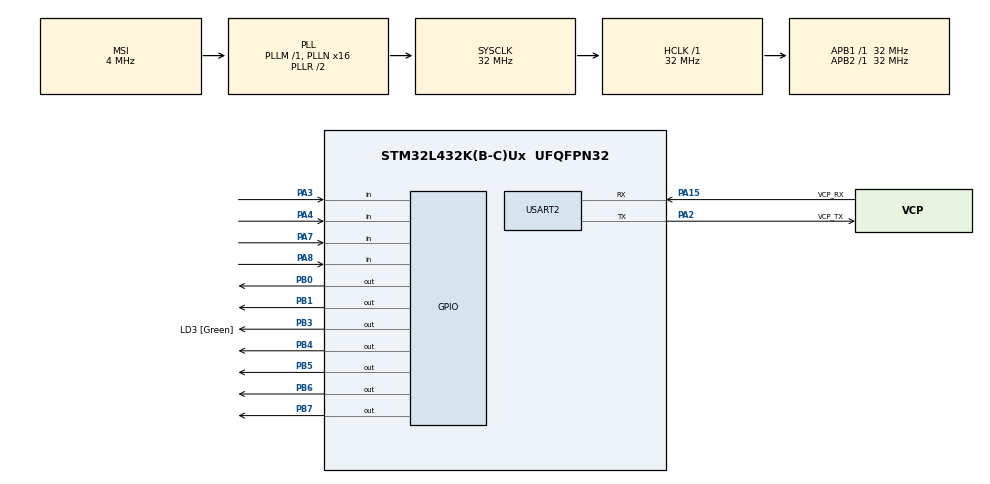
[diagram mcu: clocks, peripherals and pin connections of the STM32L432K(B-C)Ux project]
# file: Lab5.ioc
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Mcu.Family=STM32L4
Mcu.Name=STM32L432K(B-C)Ux
Mcu.Package=UFQFPN32
NVIC.PriorityGroup=NVIC_PRIORITYGROUP_4
PA0.GPIO_Label=MCO [High speed clock in]
PA0.Mode=HSE-External-Clock-Source-for-LittleOrca
PA0.Signal=RCC_CK_IN
PA13\ (JTMS-SWDIO).GPIO_Label=SWDIO
PA13\ (JTMS-SWDIO).Mode=Serial_Wire
PA13\ (JTMS-SWDIO).Signal=SYS_JTMS-SWDIO
PA14\ (JTCK-SWCLK).GPIO_Label=SWCLK
PA14\ (JTCK-SWCLK).Mode=Serial_Wire
PA14\ (JTCK-SWCLK).Signal=SYS_JTCK-SWCLK
PA15\ (JTDI).GPIO_Label=VCP_RX
PA15\ (JTDI).Mode=Asynchronous
PA15\ (JTDI).Signal=USART2_RX
PA2.GPIO_Label=VCP_TX
PA2.Mode=Asynchronous
PA2.Signal=USART2_TX
PA3.GPIO_PuPd=GPIO_PULLUP
PA3.Signal=GPIO_Input
PA4.GPIO_PuPd=GPIO_PULLUP
PA4.Signal=GPIO_Input
PA7.GPIO_PuPd=GPIO_PULLUP
PA7.Signal=GPIO_Input
PA8.GPIO_PuPd=GPIO_PULLUP
PA8.Signal=GPIO_Input
PB0.Signal=GPIO_Output
PB1.Signal=GPIO_Output
PB3\ (JTDO-TRACESWO).GPIO_Label=LD3 [Green]
PB3\ (JTDO-TRACESWO).Signal=GPIO_Output
PB4\ (NJTRST).Signal=GPIO_Output
PB5.Signal=GPIO_Output
PB6.Signal=GPIO_Output
PB7.Signal=GPIO_Output
PC14-OSC32_IN\ (PC14).Mode=LSE-External-Oscillator
PC14-OSC32_IN\ (PC14).Signal=RCC_OSC32_IN
PC15-OSC32_OUT\ (PC15).Mode=LSE-External-Oscillator
PC15-OSC32_OUT\ (PC15).Signal=RCC_OSC32_OUT
ProjectManager.HeapSize=0x200
ProjectManager.StackSize=0x400
ProjectManager.TargetToolchain=STM32CubeIDE
RCC.AHBFreq_Value=32000000
RCC.APB1Freq_Value=32000000
RCC.APB1TimFreq_Value=32000000
RCC.APB2Freq_Value=32000000
RCC.APB2TimFreq_Value=32000000
RCC.CortexFreq_Value=32000000
RCC.HCLKFreq_Value=32000000
RCC.HSE_VALUE=8000000
RCC.HSI16_VALUE=16000000
RCC.HSI48_VALUE=48000000
RCC.HSI_VALUE=16000000
RCC.MSI_VALUE=4000000
RCC.PLLMUL=RCC_PLLMUL_4
RCC.PLLN=16
RCC.SYSCLKFreq_VALUE=32000000
RCC.SYSCLKSource=RCC_SYSCLKSOURCE_PLLCLK
RCC.VCOOutputFreq_Value=64000000
USART2.VirtualMode-Asynchronous=VM_ASYNC
board=NUCLEO-L432KC

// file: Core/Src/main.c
/* USER CODE BEGIN Header */
/**
******************************************************************************
  *  PROJECT       : Lab Assignment 5
  *  PROGRAMMER    : Karthik kaushik, Shivam Vyas
  * FIRST VERSION  : 2021-04-02
  *  DESCRIPTION   : Function of this program is to simulate an GPS system

  ******************************************************************************
  */
/* USER CODE END Header */
#include "main.h"

/* USER CODE BEGIN Includes */
#include "stdio.h"
#include <stdlib.h>
#include <string.h>
#include "debounce.h"
#include "stdbool.h"
/* USER CODE END Includes */

UART_HandleTypeDef huart2;

void SystemClock_Config(void);
static void MX_GPIO_Init(void);
static void MX_USART2_UART_Init(void);

int main(void)
{
  /* USER CODE BEGIN 1 */
	int state = 1;
	char outputStr [16]="";
	char * stringData = (char*)calloc(100, sizeof(char));
	char* delimiter = (char*)calloc(10, sizeof(char));
	char* UTCTime = (char*)calloc(10, sizeof(char));
	char* latitude = (char*)calloc(10, sizeof(char));
	char* longitude = (char*)calloc(10, sizeof(char));
	char* altitude =(char*)calloc(10, sizeof(char));

  /* USER CODE END 1 */

  /* MCU Configuration--------------------------------------------------------*/

  /* Reset of all peripherals, Initializes the Flash interface and the Systick. */
  HAL_Init();

  /* USER CODE BEGIN Init */
  int8_t mode = 1;
  deBounceInit(GPIO_PIN_3, 'A', mode);
  deBounceInit(GPIO_PIN_4, 'A', mode);
  deBounceInit(GPIO_PIN_7, 'A', mode);
  deBounceInit(GPIO_PIN_8, 'A', mode);
  /* USER CODE END Init */

  /* Configure the system clock */
  SystemClock_Config();

  /* Initialize all configured peripherals */
  MX_GPIO_Init();
  MX_USART2_UART_Init();
  /* USER CODE BEGIN 2 */
  HD44780_Init();

  /* USER CODE END 2 */

  /* Infinite loop */
  /* USER CODE BEGIN WHILE */
  while (1)
  {
	  switch(state){
	  	  case 1:
			printf("%s\r\n", "Retrieving data");
			printf("%s\r\n", "Input Data:");
	  		HD44780_ClrScr();
			HD44780_PutStr("Retrieving data");
			scanf("%s",stringData);
			state = 2;
			break;

	  	  case 2:
	  		HAL_Delay(250);
			printf("%s\r\n", "Processing data");
			HD44780_ClrScr();
			HD44780_PutStr("Processing data");

			delimiter = strtok(stringData, ",");
			UTCTime = strtok(NULL, ",");
			latitude = strtok(NULL, ",");
			delimiter = strtok(NULL, ",");
			longitude = strtok(NULL, ",");
			for (int var = 0; var < 4; ++var)
				delimiter = strtok(NULL, ",");
			altitude = strtok(NULL, ",");

			HAL_Delay(5000);
			state = 3;
			break;

	  	  case 3:
			HD44780_ClrScr();
			HD44780_PutStr("1)Time, 2)Latitu");
			HD44780_GotoXY(0, 1);
			HD44780_PutStr("3)Longi 4)Altitu");
			printf("%s\r\n", "1:Time 2:Latitude 3.:Longitude 4.:Altitude");
	  		while (deBounceReadPin(GPIO_PIN_3, 'A', mode)
					&&deBounceReadPin(GPIO_PIN_4, 'A', mode)
					&&deBounceReadPin(GPIO_PIN_7, 'A', mode)
					&&deBounceReadPin(GPIO_PIN_8, 'A', mode))
				HAL_Delay(20);
			if(deBounceReadPin(GPIO_PIN_3, 'A', mode) == 0)
				state = 4;
			else if (deBounceReadPin(GPIO_PIN_4, 'A', mode) == 0)
				state = 5;
			else if (deBounceReadPin(GPIO_PIN_7, 'A', mode) == 0)
				state = 6;
			else if (deBounceReadPin(GPIO_PIN_8, 'A', mode) == 0)
				state = 7;
			break;

	  	  case 4:
	  		  ;
			  float timeVar = atof(UTCTime);
			  float seconds = fmod(timeVar,100);
			  int minutes = ((int)timeVar / 100) % 100;
			  int hours = ((int)timeVar / 100) / 100;

			  HD44780_ClrScr();
			  HD44780_PutStr("Time:");
			  HD44780_GotoXY(0, 1);
	  		  printf("%s\r\n", "Time:");
			  printf("%ih %im %.2fs\r\n", hours, minutes, seconds);
			  sprintf(outputStr,"%ih %im %.2fs", hours, minutes, seconds);
			  HD44780_PutStr(outputStr);

			  HAL_Delay(5000);
			  state = 3;
			  break;

	  	  case 5:
	  		  ;
			  float latitudeTemp = atof(latitude);
			  int degree = (int)latitudeTemp/100;
			  int min = (int)latitudeTemp%100;
			  int dd = ((int)(latitudeTemp*10000))%10000;

	  		  printf("%s\r\n", "Latitude:");
			  printf("%id %im %idd\r\n", degree, min, dd);
			  sprintf(outputStr,"%id %im %idd", degree, min, dd);
			  HD44780_ClrScr();
			  HD44780_PutStr("Latitude:");
			  HD44780_GotoXY(0, 1);
			  HD44780_PutStr(outputStr);

			  HAL_Delay(5000);
			  state = 3;
			  break;

	  	  case 6:
	  		  ;
			  float longitudeTemp = atof(longitude);
			  int degreeTemp = (int)longitudeTemp/100;
			  int minTemp = (int)longitudeTemp%100;
			  int ddTemp = ((int)(longitudeTemp*10000))%10000;

	  		  printf("%s\r\n", "longitude:");
			  printf("%id %im %idd\r\n", degreeTemp, minTemp, ddTemp);
			  sprintf(outputStr,"%id %im %idd", degreeTemp, minTemp, ddTemp);
			  HD44780_ClrScr();
			  HD44780_PutStr("longitude:");
			  HD44780_GotoXY(0, 1);
			  HD44780_PutStr(outputStr);

			  HAL_Delay(5000);
			  state = 3;
			  break;

	  	  case 7:
	  		  ;
	  		  float alti = atof(altitude);

	  		  printf("%s\r\n", "altitude:");
	  		  printf("%.3f meter\r\n", alti);
	  		  sprintf(outputStr,"%.3f meter", alti);
	  		  HD44780_ClrScr();
	  		  HD44780_PutStr("altitude:");
	  		  HD44780_GotoXY(0, 1);
	  		  HD44780_PutStr(outputStr);

	  		  HAL_Delay(5000);
	  		  state = 3;
			  break;

	  }
    /* USER CODE END WHILE */

  }
}

void SystemClock_Config(void)
{
  RCC_OscInitTypeDef RCC_OscInitStruct = {0};
  RCC_ClkInitTypeDef RCC_ClkInitStruct = {0};
  RCC_PeriphCLKInitTypeDef PeriphClkInit = {0};

  /** Configure LSE Drive Capability
  */
  HAL_PWR_EnableBkUpAccess();
  __HAL_RCC_LSEDRIVE_CONFIG(RCC_LSEDRIVE_LOW);
  /** Initializes the RCC Oscillators according to the specified parameters
  * in the RCC_OscInitTypeDef structure.
  */
  RCC_OscInitStruct.OscillatorType = RCC_OSCILLATORTYPE_LSE|RCC_OSCILLATORTYPE_MSI;
  RCC_OscInitStruct.LSEState = RCC_LSE_ON;
  RCC_OscInitStruct.MSIState = RCC_MSI_ON;
  RCC_OscInitStruct.MSICalibrationValue = 0;
  RCC_OscInitStruct.MSIClockRange = RCC_MSIRANGE_6;
  RCC_OscInitStruct.PLL.PLLState = RCC_PLL_ON;
  RCC_OscInitStruct.PLL.PLLSource = RCC_PLLSOURCE_MSI;
  RCC_OscInitStruct.PLL.PLLM = 1;
  RCC_OscInitStruct.PLL.PLLN = 16;
  RCC_OscInitStruct.PLL.PLLP = RCC_PLLP_DIV7;
  RCC_OscInitStruct.PLL.PLLQ = RCC_PLLQ_DIV2;
  RCC_OscInitStruct.PLL.PLLR = RCC_PLLR_DIV2;
  if (HAL_RCC_OscConfig(&RCC_OscInitStruct) != HAL_OK)
  {
    Error_Handler();
  }
  /** Initializes the CPU, AHB and APB buses clocks
  */
  RCC_ClkInitStruct.ClockType = RCC_CLOCKTYPE_HCLK|RCC_CLOCKTYPE_SYSCLK
                              |RCC_CLOCKTYPE_PCLK1|RCC_CLOCKTYPE_PCLK2;
  RCC_ClkInitStruct.SYSCLKSource = RCC_SYSCLKSOURCE_PLLCLK;
  RCC_ClkInitStruct.AHBCLKDivider = RCC_SYSCLK_DIV1;
  RCC_ClkInitStruct.APB1CLKDivider = RCC_HCLK_DIV1;
  RCC_ClkInitStruct.APB2CLKDivider = RCC_HCLK_DIV1;

  if (HAL_RCC_ClockConfig(&RCC_ClkInitStruct, FLASH_LATENCY_1) != HAL_OK)
  {
    Error_Handler();
  }
  PeriphClkInit.PeriphClockSelection = RCC_PERIPHCLK_USART2;
  PeriphClkInit.Usart2ClockSelection = RCC_USART2CLKSOURCE_PCLK1;
  if (HAL_RCCEx_PeriphCLKConfig(&PeriphClkInit) != HAL_OK)
  {
    Error_Handler();
  }
  /** Configure the main internal regulator output voltage
  */
  if (HAL_PWREx_ControlVoltageScaling(PWR_REGULATOR_VOLTAGE_SCALE1) != HAL_OK)
  {
    Error_Handler();
  }
  /** Enable MSI Auto calibration
  */
  HAL_RCCEx_EnableMSIPLLMode();
}

static void MX_USART2_UART_Init(void)
{

  huart2.Instance = USART2;
  huart2.Init.BaudRate = 115200;
  huart2.Init.WordLength = UART_WORDLENGTH_8B;
  huart2.Init.StopBits = UART_STOPBITS_1;
  huart2.Init.Parity = UART_PARITY_NONE;
  huart2.Init.Mode = UART_MODE_TX_RX;
  huart2.Init.HwFlowCtl = UART_HWCONTROL_NONE;
  huart2.Init.OverSampling = UART_OVERSAMPLING_16;
  huart2.Init.OneBitSampling = UART_ONE_BIT_SAMPLE_DISABLE;
  huart2.AdvancedInit.AdvFeatureInit = UART_ADVFEATURE_NO_INIT;
  if (HAL_UART_Init(&huart2) != HAL_OK)
  {
    Error_Handler();
  }

}

static void MX_GPIO_Init(void)
{
  GPIO_InitTypeDef GPIO_InitStruct = {0};

  /* GPIO Ports Clock Enable */
  __HAL_RCC_GPIOC_CLK_ENABLE();
  __HAL_RCC_GPIOA_CLK_ENABLE();
  __HAL_RCC_GPIOB_CLK_ENABLE();

  /*Configure GPIO pin Output Level */
  HAL_GPIO_WritePin(LD3_GPIO_Port, LD3_Pin, GPIO_PIN_RESET);

  /*Configure GPIO pins : PA3 PA4 PA7 PA8 */
  GPIO_InitStruct.Pin = GPIO_PIN_3|GPIO_PIN_4|GPIO_PIN_7|GPIO_PIN_8;
  GPIO_InitStruct.Mode = GPIO_MODE_INPUT;
  GPIO_InitStruct.Pull = GPIO_NOPULL;
  HAL_GPIO_Init(GPIOA, &GPIO_InitStruct);

  /*Configure GPIO pin : LD3_Pin */
  GPIO_InitStruct.Pin = LD3_Pin;
  GPIO_InitStruct.Mode = GPIO_MODE_OUTPUT_PP;
  GPIO_InitStruct.Pull = GPIO_NOPULL;
  GPIO_InitStruct.Speed = GPIO_SPEED_FREQ_LOW;
  HAL_GPIO_Init(LD3_GPIO_Port, &GPIO_InitStruct);

}

void Error_Handler(void)
{
  __disable_irq();
  while (1)
  {
  }
}

/************************ (C) COPYRIGHT STMicroelectronics *****END OF FILE****/
